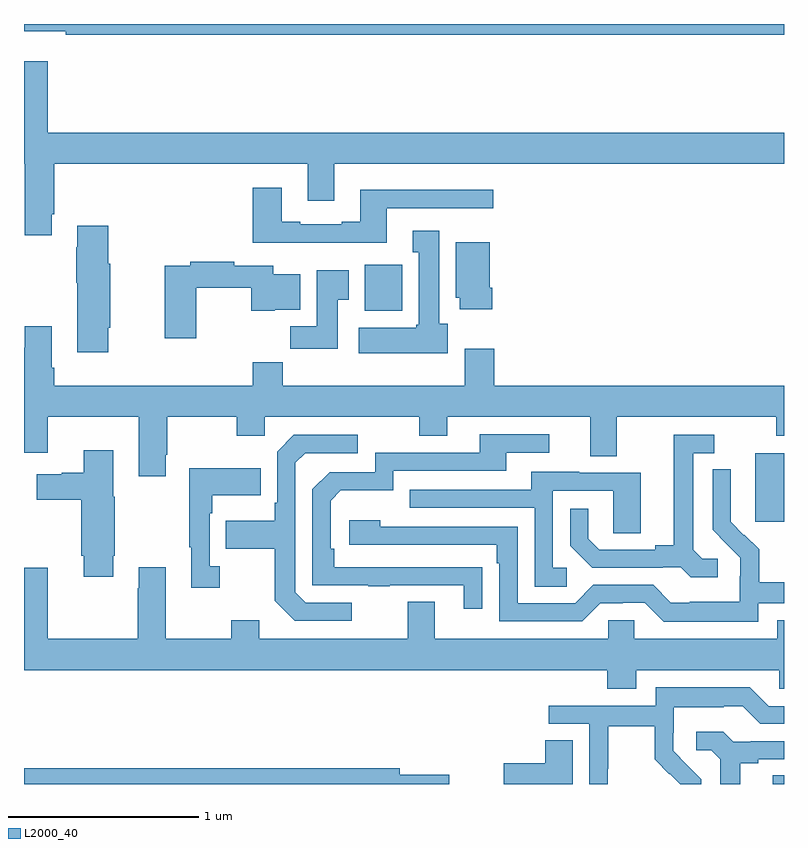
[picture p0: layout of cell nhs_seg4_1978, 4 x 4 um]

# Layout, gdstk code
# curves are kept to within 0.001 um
import gdstk
lib = gdstk.Library(unit=1e-6, precision=1e-09)
def R(c, l, rs):  # rectangles x0, y0, x1, y1
    for r in rs: c.add(gdstk.rectangle(r[:2], r[2:], *l))
def P(c, l, *ps):  # polygons
    for p in ps: c.add(gdstk.Polygon(p, *l))
L2000_40 = (2000, 40)

nhs_seg4_1978 = lib.new_cell('nhs_seg4_1978')
R(nhs_seg4_1978, L2000_40, [(216.941,782.9,217,782.945), (216.848,784.281,217,784.642), (214.793,785.39,214.99,785.632)])
P(nhs_seg4_1978, L2000_40, [(217,786.9),(213,786.9),(213,786.863),(213.22,786.863),(213.22,786.844),(217,786.844)],
  [(213.145,785.899),(213.158,785.899),(213.158,786.164),(214.493,786.164),(214.493,785.97),(214.633,785.97),(214.633,786.164),(217,786.164),(217,786.328),(213.124,786.328),(213.124,786.703),(213,786.703),(213,786.164),(213.005,786.164),(213.005,785.787),(213.145,785.787)],
  [(214.909,785.931),(215.47,785.931),(215.47,786.028),(214.769,786.028),(214.769,785.86),(214.673,785.86),(214.673,785.847),(214.453,785.847),(214.453,785.86),(214.357,785.86),(214.357,786.037),(214.205,786.037),(214.205,785.75),(214.909,785.75)],
  [(213.444,785.301),(213.454,785.301),(213.454,785.637),(213.444,785.637),(213.444,785.839),(213.281,785.839),(213.281,785.726),(213.274,785.726),(213.274,785.537),(213.281,785.537),(213.281,785.172),(213.444,785.172)],
  [(215.23,785.322),(215.185,785.322),(215.185,785.812),(215.045,785.812),(215.045,785.699),(215.078,785.699),(215.078,785.316),(215.065,785.316),(215.065,785.302),(214.761,785.302),(214.761,785.168),(215.23,785.168)],
  [(215.465,785.512),(215.452,785.512),(215.452,785.752),(215.273,785.752),(215.273,785.46),(215.294,785.46),(215.294,785.4),(215.465,785.4)],
  [(213.906,785.512),(214.195,785.512),(214.195,785.39),(214.32,785.39),(214.32,785.396),(214.453,785.396),(214.453,785.584),(214.312,785.584),(214.312,785.628),(214.106,785.628),(214.106,785.648),(213.874,785.648),(213.874,785.628),(213.74,785.628),(213.74,785.247),(213.906,785.247)],
  [(214.651,785.449),(214.708,785.449),(214.708,785.605),(214.541,785.605),(214.541,785.308),(214.402,785.308),(214.402,785.19),(214.651,785.19)],
  [(213.745,784.633),(213.753,784.633),(213.753,784.832),(214.12,784.832),(214.12,784.733),(214.266,784.733),(214.266,784.832),(215.08,784.832),(215.08,784.733),(215.227,784.733),(215.227,784.832),(215.981,784.832),(215.981,784.624),(216.121,784.624),(216.121,784.832),(216.958,784.832),(216.958,784.733),(217,784.733),(217,784.996),(215.474,784.996),(215.474,785.191),(215.321,785.191),(215.321,784.996),(214.361,784.996),(214.361,785.12),(214.205,785.12),(214.205,784.996),(213.158,784.996),(213.158,785.092),(213.145,785.092),(213.145,785.308),(213.005,785.308),(213.005,785.195),(213,785.195),(213,784.644),(213.124,784.644),(213.124,784.832),(213.605,784.832),(213.605,784.521),(213.745,784.521)],
  [(215.411,784.04),(214.634,784.041),(214.634,784.138),(214.614,784.138),(214.614,784.392),(214.667,784.445),(214.944,784.445),(214.944,784.548),(215.539,784.548),(215.539,784.644),(215.764,784.644),(215.764,784.74),(215.399,784.74),(215.399,784.644),(214.848,784.644),(214.848,784.542),(214.608,784.542),(214.518,784.452),(214.518,783.945),(214.813,783.945),(214.813,783.94),(214.925,783.94),(214.925,783.945),(215.315,783.945),(215.315,783.822),(215.411,783.822)],
  [(214.726,783.855),(214.482,783.855),(214.428,783.909),(214.428,784.59),(214.479,784.641),(214.756,784.641),(214.756,784.737),(214.419,784.737),(214.332,784.65),(214.332,784.381),(214.32,784.381),(214.32,784.285),(214.063,784.285),(214.063,784.138),(214.32,784.138),(214.32,783.865),(214.425,783.759),(214.726,783.759)],
  [(216.652,784.086),(216.57,784.086),(216.523,784.133),(216.523,784.641),(216.634,784.641),(216.634,784.737),(216.419,784.737),(216.419,784.157),(216.323,784.157),(216.323,784.134),(216.028,784.134),(215.971,784.191),(215.971,784.348),(215.874,784.348),(215.874,784.154),(215.99,784.038),(216.362,784.038),(216.362,784.041),(216.456,784.041),(216.508,783.989),(216.652,783.989)],
  [(213.469,784.102),(213.477,784.102),(213.477,784.413),(213.469,784.413),(213.469,784.657),(213.314,784.657),(213.314,784.539),(213.198,784.539),(213.198,784.531),(213.066,784.531),(213.066,784.397),(213.302,784.397),(213.302,784.102),(213.314,784.102),(213.314,783.99),(213.469,783.99)],
  [(214.03,784.046),(213.978,784.046),(213.978,784.325),(213.991,784.325),(213.991,784.421),(214.247,784.421),(214.247,784.561),(213.87,784.561),(213.87,784.145),(213.881,784.145),(213.881,783.933),(214.03,783.933)],
  [(216.864,783.852),(217,783.852),(217,783.961),(216.869,783.961),(216.869,784.135),(216.792,784.212),(216.789,784.209),(216.719,784.28),(216.72,784.556),(216.624,784.556),(216.624,784.238),(216.77,784.09),(216.77,783.993),(216.768,783.993),(216.768,783.859),(216.505,783.859),(216.505,783.855),(216.405,783.855),(216.312,783.948),(215.997,783.948),(215.901,783.852),(215.598,783.852),(215.598,784.254),(214.874,784.254),(214.874,784.288),(214.713,784.288),(214.713,784.158),(215.489,784.158),(215.489,784.061),(215.502,784.061),(215.502,783.756),(215.937,783.756),(216.033,783.852),(216.152,783.852),(216.152,783.855),(216.267,783.855),(216.367,783.755),(216.864,783.755)],
  [(215.857,784.038),(215.784,784.038),(215.784,784.443),(216.102,784.443),(216.102,784.219),(216.247,784.219),(216.247,784.539),(215.923,784.539),(215.923,784.543),(215.669,784.543),(215.669,784.449),(215.029,784.449),(215.029,784.353),(215.688,784.353),(215.688,783.937),(215.857,783.937)],
  [(216.223,783.5),(216.975,783.5),(216.975,783.402),(217,783.402),(217,783.763),(216.965,783.763),(216.965,783.664),(216.213,783.664),(216.213,783.762),(216.075,783.762),(216.075,783.664),(215.161,783.664),(215.161,783.859),(215.021,783.859),(215.021,783.664),(214.237,783.664),(214.237,783.763),(214.09,783.763),(214.09,783.664),(213.745,783.664),(213.745,784.042),(213.605,784.042),(213.605,783.929),(213.598,783.929),(213.598,783.664),(213.124,783.664),(213.124,784.039),(213,784.039),(213,783.5),(216.071,783.5),(216.071,783.401),(216.223,783.401)],
  [(216.072,782.98),(216.075,782.98),(216.075,783.204),(216.319,783.204),(216.319,783.029),(216.396,782.952),(216.399,782.955),(216.455,782.9),(216.564,782.9),(216.564,782.926),(216.418,783.074),(216.418,783.171),(216.42,783.171),(216.42,783.305),(216.683,783.305),(216.683,783.309),(216.783,783.309),(216.876,783.216),(217,783.216),(217,783.309),(216.921,783.309),(216.821,783.409),(216.324,783.409),(216.324,783.312),(215.763,783.312),(215.763,783.216),(215.976,783.216),(215.976,782.9),(216.072,782.9)],
  [(216.769,783.008),(216.865,783.008),(216.865,783.03),(217,783.03),(217,783.126),(216.826,783.126),(216.826,783.123),(216.732,783.123),(216.68,783.175),(216.537,783.175),(216.537,783.078),(216.618,783.078),(216.665,783.031),(216.665,782.9),(216.769,782.9)],
  [(215.887,783.131),(215.744,783.131),(215.744,783.008),(215.526,783.008),(215.526,782.9),(215.887,782.9)],
  [(215.239,782.948),(214.978,782.948),(214.978,782.984),(213,782.984),(213,782.9),(215.239,782.9)])

lib.write_gds('nhs_seg4_1978.gds')
